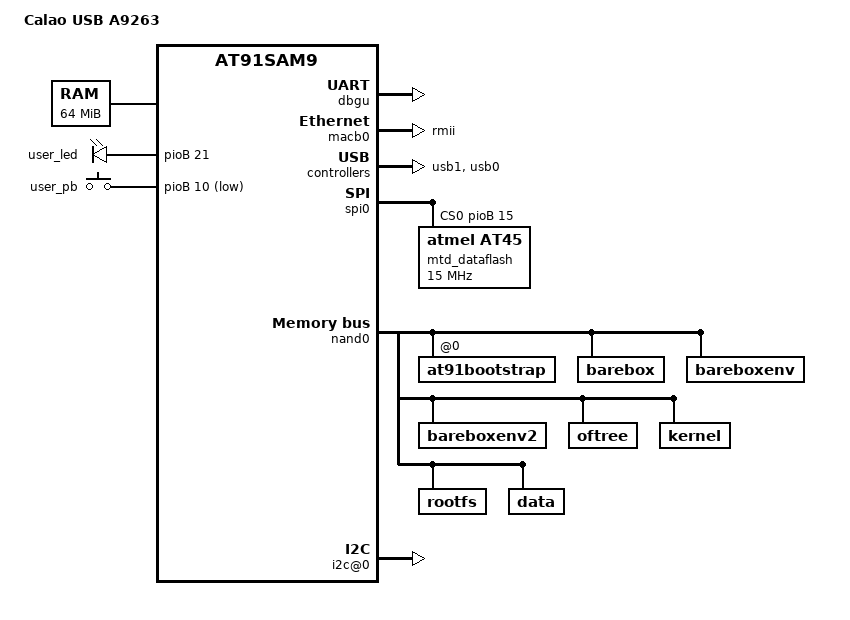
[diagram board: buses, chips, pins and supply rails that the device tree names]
/*
 * usb_a9263.dts - Device Tree file for Caloa USB A9293 board
 *
 *  Copyright (C) 2012 Jean-Christophe PLAGNIOL-VILLARD <plagnioj@jcrosoft.com>
 *
 * Licensed under GPLv2 only
 */
/dts-v1/;
#include "at91sam9263.dtsi"

/ {
	model = "Calao USB A9263";
	compatible = "atmel,usb-a9263", "atmel,at91sam9263", "atmel,at91sam9";

	chosen {
		bootargs = "mem=64M console=ttyS0,115200 root=/dev/mtdblock5 rw rootfstype=ubifs";
	};

	memory {
		reg = <0x20000000 0x4000000>;
	};

	clocks {
		#address-cells = <1>;
		#size-cells = <1>;
		ranges;

		main_clock: clock@0 {
			compatible = "atmel,osc", "fixed-clock";
			clock-frequency = <12000000>;
		};

		slow_xtal {
			clock-frequency = <32768>;
		};

		main_xtal {
			clock-frequency = <12000000>;
		};
	};

	ahb {
		apb {
			dbgu: serial@ffffee00 {
				status = "okay";
			};

			macb0: ethernet@fffbc000 {
				phy-mode = "rmii";
				status = "okay";
			};

			usb1: gadget@fff78000 {
				atmel,vbus-gpio = <&pioB 11 GPIO_ACTIVE_HIGH>;
				status = "okay";
			};

			spi0: spi@fffa4000 {
				cs-gpios = <&pioB 15 GPIO_ACTIVE_HIGH>;
				status = "okay";
				mtd_dataflash@0 {
					compatible = "atmel,at45", "atmel,dataflash";
					reg = <0>;
					spi-max-frequency = <15000000>;
				};
			};

			shdwc@fffffd10 {
				atmel,wakeup-counter = <10>;
				atmel,wakeup-rtt-timer;
			};
		};

		nand0: nand@40000000 {
			nand-bus-width = <8>;
			nand-ecc-mode = "soft";
			nand-on-flash-bbt;
			status = "okay";

			at91bootstrap@0 {
				label = "at91bootstrap";
				reg = <0x0 0x20000>;
			};

			barebox@20000 {
				label = "barebox";
				reg = <0x20000 0x40000>;
			};

			bareboxenv@60000 {
				label = "bareboxenv";
				reg = <0x60000 0x20000>;
			};

			bareboxenv2@80000 {
				label = "bareboxenv2";
				reg = <0x80000 0x20000>;
			};

			oftree@80000 {
				label = "oftree";
				reg = <0xa0000 0x20000>;
			};

			kernel@a0000 {
				label = "kernel";
				reg = <0xc0000 0x400000>;
			};

			rootfs@4a0000 {
				label = "rootfs";
				reg = <0x4c0000 0x7800000>;
			};

			data@7ca0000 {
				label = "data";
				reg = <0x7cc0000 0x8340000>;
			};
		};

		usb0: ohci@00a00000 {
			num-ports = <2>;
			status = "okay";
		};
	};

	leds {
		compatible = "gpio-leds";

		user_led {
			label = "user_led";
			gpios = <&pioB 21 GPIO_ACTIVE_HIGH>;
			linux,default-trigger = "heartbeat";
		};
	};

	gpio_keys {
		compatible = "gpio-keys";
		#address-cells = <1>;
		#size-cells = <0>;

		user_pb {
			label = "user_pb";
			gpios = <&pioB 10 GPIO_ACTIVE_LOW>;
			linux,code = <28>;
			wakeup-source;
		};
	};

	i2c@0 {
		status = "okay";
	};
};
